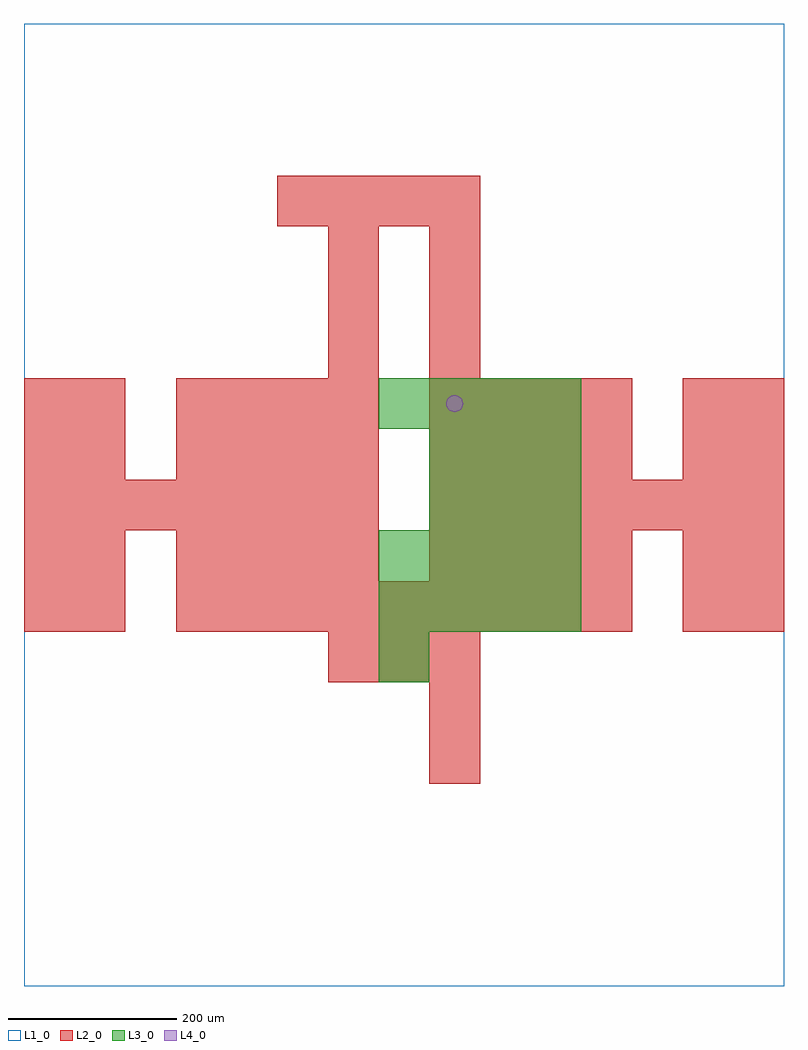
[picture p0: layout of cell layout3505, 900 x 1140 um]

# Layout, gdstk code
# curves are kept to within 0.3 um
import gdstk
lib = gdstk.Library(unit=1e-6, precision=1e-09)
def R(c, l, rs):  # rectangles x0, y0, x1, y1
    for r in rs: c.add(gdstk.rectangle(r[:2], r[2:], *l))
def A(c, l, x, y, w, h, nx, ny, dx, dy):  # array of equal rectangles
    R(c, l, [(x+i*dx, y+j*dy, x+i*dx+w, y+j*dy+h) for i in range(nx) for j in range(ny)])
def P(c, l, *ps):  # polygons
    for p in ps: c.add(gdstk.Polygon(p, *l))
L1_0 = (1, 0)
L2_0 = (2, 0)
L3_0 = (3, 0)
L4_0 = (4, 0)

layout3505 = lib.new_cell('layout3505')
R(layout3505, L1_0, [(0,0,900,1140)])
A(layout3505, L2_0, 360, 360, 60, 60, 3, 1, 60, 0)
A(layout3505, L2_0, 180, 420, 60, 60, 9, 1, 60, 0)
A(layout3505, L2_0, 180, 480, 60, 60, 4, 2, 60, 120)
A(layout3505, L2_0, 480, 480, 60, 60, 4, 2, 60, 120)
A(layout3505, L2_0, 0, 540, 60, 60, 7, 1, 60, 0)
A(layout3505, L2_0, 480, 540, 60, 60, 7, 1, 60, 0)
A(layout3505, L2_0, 180, 660, 60, 60, 4, 1, 60, 0)
A(layout3505, L2_0, 480, 660, 60, 60, 4, 1, 60, 0)
A(layout3505, L2_0, 360, 720, 60, 60, 1, 3, 0, 60)
A(layout3505, L2_0, 480, 720, 60, 60, 1, 3, 0, 60)
A(layout3505, L2_0, 300, 900, 60, 60, 4, 1, 60, 0)
R(layout3505, L2_0, [(480,240,540,300), (480,300,540,360), (0,420,60,480), (60,420,120,480), (780,420,840,480), (840,420,900,480), (0,480,60,540), (60,480,120,540), (780,480,840,540), (840,480,900,540), (0,600,60,660), (60,600,120,660), (780,600,840,660), (840,600,900,660), (0,660,60,720), (60,660,120,720), (780,660,840,720), (840,660,900,720)])
A(layout3505, L3_0, 420, 420, 60, 60, 4, 2, 60, 60)
A(layout3505, L3_0, 480, 540, 60, 60, 3, 2, 60, 60)
A(layout3505, L3_0, 420, 660, 60, 60, 4, 1, 60, 0)
R(layout3505, L3_0, [(420,360,480,420)])
P(layout3505, L4_0, [(520,690),(519.239,693.827),(517.071,697.071),(513.827,699.239),(510,700),(506.173,699.239),(502.929,697.071),(500.761,693.827),(500,690),(500.761,686.173),(502.929,682.929),(506.173,680.761),(510,680),(513.827,680.761),(517.071,682.929),(519.239,686.173)])

lib.write_gds('layout3505.gds')
